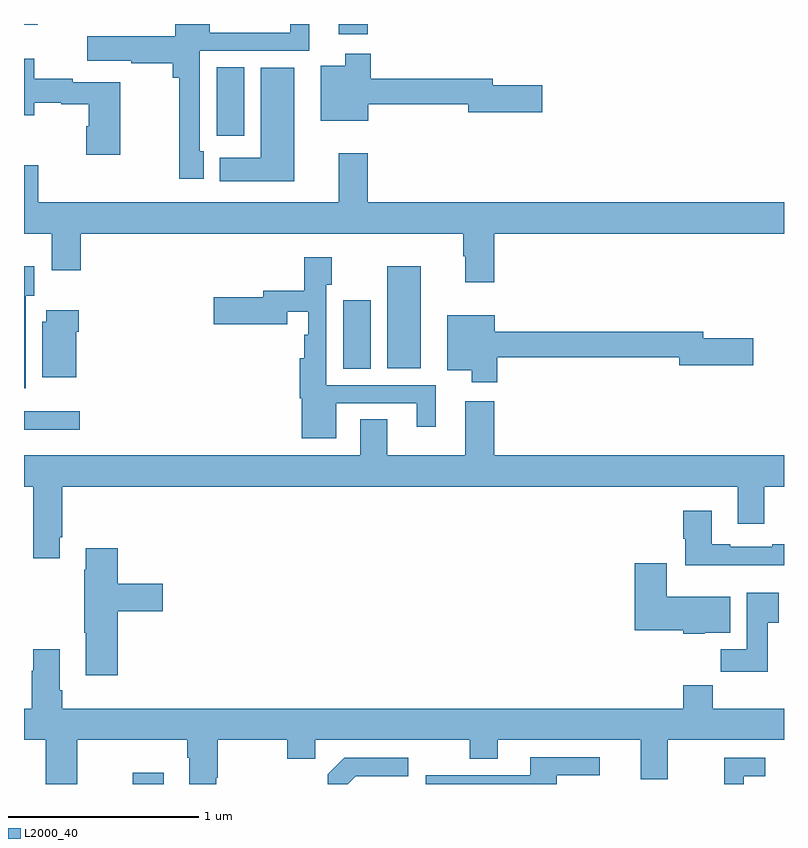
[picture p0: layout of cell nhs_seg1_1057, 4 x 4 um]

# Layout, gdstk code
import gdstk
lib = gdstk.Library(unit=1e-6, precision=1e-09)
def R(c, l, rs):  # rectangles x0, y0, x1, y1
    for r in rs: c.add(gdstk.rectangle(r[:2], r[2:], *l))
def P(c, l, *ps):  # polygons
    for p in ps: c.add(gdstk.Polygon(p, *l))
L2000_40 = (2000, 40)

nhs_seg1_1057 = lib.new_cell('nhs_seg1_1057')
R(nhs_seg1_1057, L2000_40, [(169.573,518.199,169.735,518.257), (169,520.064,169.294,520.161), (170.681,520.384,170.824,520.746), (170.912,520.388,171.088,520.924), (170.015,521.61,170.158,521.972), (170.657,522.144,170.81,522.199), (169,522.195,169.072,522.199)])
P(nhs_seg1_1057, L2000_40, [(169.945,521.529),(169.926,521.529),(169.926,522.057),(170.5,522.057),(170.5,522.199),(170.402,522.199),(170.402,522.153),(169.978,522.153),(169.978,522.199),(169.796,522.199),(169.796,522.135),(169.332,522.135),(169.332,522.005),(169.564,522.005),(169.564,521.993),(169.784,521.993),(169.784,521.915),(169.818,521.915),(169.818,521.385),(169.945,521.385)],
  [(170.812,521.776),(171.338,521.776),(171.338,521.734),(171.727,521.734),(171.727,521.876),(171.466,521.876),(171.466,521.912),(170.825,521.912),(170.825,522.043),(170.69,522.043),(170.69,521.98),(170.561,521.98),(170.561,521.69),(170.812,521.69)],
  [(169.506,521.892),(169.257,521.892),(169.257,521.912),(169.054,521.912),(169.054,522.016),(169,522.016),(169,521.72),(169.054,521.72),(169.054,521.784),(169.197,521.784),(169.197,521.776),(169.34,521.776),(169.34,521.661),(169.328,521.661),(169.328,521.511),(169.506,521.511)],
  [(170.422,521.968),(170.246,521.968),(170.246,521.494),(170.03,521.494),(170.03,521.372),(170.422,521.372)],
  [(171.476,521.096),(173,521.096),(173,521.26),(170.81,521.26),(170.81,521.518),(170.657,521.518),(170.657,521.26),(169.076,521.26),(169.076,521.455),(169,521.455),(169,521.096),(169.145,521.096),(169.145,520.902),(169.298,520.902),(169.298,521.096),(171.311,521.096),(171.311,520.976),(171.323,520.976),(171.323,520.839),(171.476,520.839)],
  [(170.644,520.203),(171.068,520.203),(171.068,520.08),(171.166,520.08),(171.166,520.299),(170.592,520.299),(170.592,520.827),(170.619,520.827),(170.619,520.972),(170.476,520.972),(170.476,520.795),(170.258,520.795),(170.258,520.761),(169.998,520.761),(169.998,520.619),(170.386,520.619),(170.386,520.684),(170.496,520.684),(170.496,520.563),(170.476,520.563),(170.476,520.441),(170.45,520.441),(170.45,520.23),(170.462,520.23),(170.462,520.019),(170.644,520.019)],
  [(169.009,520.77),(169.054,520.77),(169.054,520.924),(169,520.924),(169,520.281),(169.009,520.281)],
  [(169.276,520.58),(169.289,520.58),(169.289,520.693),(169.118,520.693),(169.118,520.632),(169.097,520.632),(169.097,520.34),(169.276,520.34)],
  [(171.491,520.444),(172.448,520.444),(172.448,520.402),(172.837,520.402),(172.837,520.544),(172.576,520.544),(172.576,520.58),(171.478,520.58),(171.478,520.666),(171.227,520.666),(171.227,520.376),(171.356,520.376),(171.356,520.314),(171.491,520.314)],
  [(169.189,519.499),(169.202,519.499),(169.202,519.764),(172.757,519.764),(172.757,519.57),(172.897,519.57),(172.897,519.764),(173,519.764),(173,519.928),(171.476,519.928),(171.476,520.213),(171.323,520.213),(171.323,519.928),(170.911,519.928),(170.911,520.118),(170.771,520.118),(170.771,519.928),(169,519.928),(169,519.764),(169.049,519.764),(169.049,519.387),(169.189,519.387)],
  [(173,519.46),(172.937,519.46),(172.937,519.447),(172.717,519.447),(172.717,519.46),(172.621,519.46),(172.621,519.637),(172.469,519.637),(172.469,519.489),(172.481,519.489),(172.481,519.35),(173,519.35)],
  [(169.493,519.107),(169.729,519.107),(169.729,519.254),(169.493,519.254),(169.493,519.439),(169.325,519.439),(169.325,519.326),(169.318,519.326),(169.318,518.995),(169.325,518.995),(169.325,518.772),(169.493,518.772)],
  [(172.584,518.996),(172.717,518.996),(172.717,519.184),(172.384,519.184),(172.384,519.361),(172.214,519.361),(172.214,519.008),(172.47,519.008),(172.47,518.99),(172.584,518.99)],
  [(172.915,519.049),(172.972,519.049),(172.972,519.205),(172.805,519.205),(172.805,518.908),(172.666,518.908),(172.666,518.79),(172.915,518.79)],
  [(169.279,518.432),(169.859,518.432),(169.859,518.336),(169.871,518.336),(169.871,518.199),(170.011,518.199),(170.011,518.233),(170.019,518.233),(170.019,518.432),(170.386,518.432),(170.386,518.333),(170.532,518.333),(170.532,518.432),(171.346,518.432),(171.346,518.333),(171.493,518.333),(171.493,518.432),(172.247,518.432),(172.247,518.224),(172.387,518.224),(172.387,518.432),(173,518.432),(173,518.596),(172.625,518.596),(172.625,518.72),(172.469,518.72),(172.469,518.596),(169.202,518.596),(169.202,518.692),(169.189,518.692),(169.189,518.908),(169.049,518.908),(169.049,518.795),(169.042,518.795),(169.042,518.596),(169,518.596),(169,518.432),(169.115,518.432),(169.115,518.199),(169.279,518.199)],
  [(171.805,518.244),(172.03,518.244),(172.03,518.34),(171.665,518.34),(171.665,518.244),(171.114,518.244),(171.114,518.199),(171.805,518.199)],
  [(170.745,518.241),(171.022,518.241),(171.022,518.337),(170.685,518.337),(170.598,518.25),(170.598,518.199),(170.703,518.199)],
  [(172.789,518.241),(172.9,518.241),(172.9,518.337),(172.685,518.337),(172.685,518.199),(172.789,518.199)])

lib.write_gds('nhs_seg1_1057.gds')
